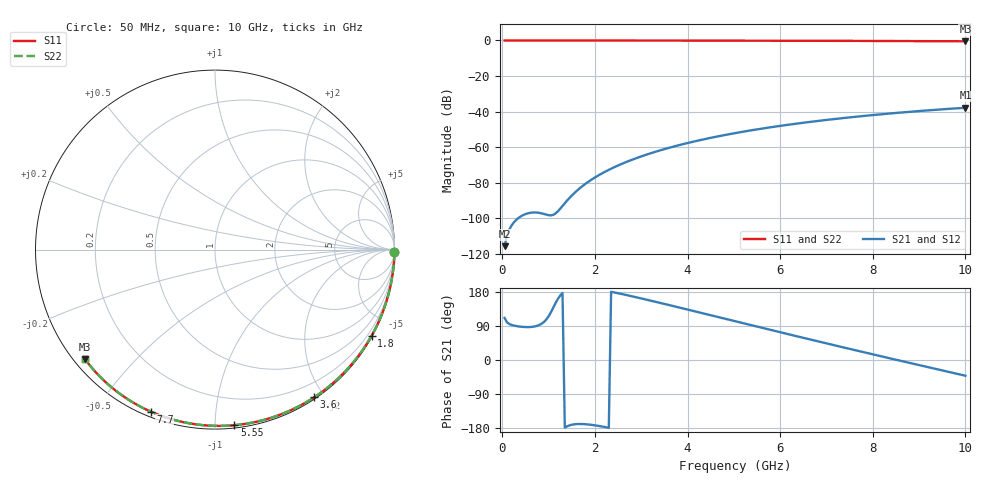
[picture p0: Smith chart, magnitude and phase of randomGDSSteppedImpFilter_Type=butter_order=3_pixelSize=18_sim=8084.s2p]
! freq	dB(S11)	phase(S11)	dB(S12)	phase(S12)
!  dB(S21)	phase(S21)	dB(S22)	phase(S22)
!S-par simulation data
#  GHz  S  DB  R 50
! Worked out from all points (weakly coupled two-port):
!   200 points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, 50 MHz to 10 GHz, reference 50 ohm
!   highest |S21| = -37.84 dB at 10 GHz (marker M1); lowest = -115.7 dB at 50 MHz (marker M2)
!   lowest |S11| = -0.5 dB at 10 GHz (marker M3), VSWR 36.87, Z = 1.54 - j18.2 ohm
!   |S11| at or under -10 dB: nowhere
!   |S22| runs from -0.5 to 0.0 dB; largest |S21 - S12| = 0
!   S11 on the Smith chart (normalised r, x): 50 MHz: open; 1.8 GHz: 0.03, -3.90; 3.6 GHz: 0.02, -1.87; 5.55 GHz: 0.02, -1.12; 7.7 GHz: 0.02, -0.68; 10 GHz: 0.03, -0.36
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0.05  -0.00 -0.8  -115.67 111.0  -115.67 111.0  -0.00 -0.8
0.45  -0.01 -7.3  -98.19 87.2  -98.19 87.2  -0.01 -7.3
0.9  -0.02 -14.5  -97.58 100.4  -97.58 100.4  -0.02 -14.5
1.75  -0.04 -28.0  -81.50 -169.1  -81.50 -169.1  -0.04 -28.0
1.8  -0.04 -28.8  -80.52 -169.5  -80.52 -169.5  -0.04 -28.8
1.85  -0.04 -29.5  -79.60 -170.1  -79.60 -170.1  -0.04 -29.5
2.05  -0.04 -32.7  -76.27 -173.3  -76.27 -173.3  -0.04 -32.7
2.25  -0.05 -35.8  -73.40 -177.6  -73.40 -177.6  -0.05 -35.8
2.55  -0.05 -40.4  -69.72 174.9  -69.72 174.9  -0.05 -40.4
2.95  -0.06 -46.5  -65.65 163.9  -65.65 163.9  -0.06 -46.5
3.4  -0.07 -53.2  -61.85 151.0  -61.85 151.0  -0.07 -53.2
3.6  -0.08 -56.2  -60.36 145.1  -60.36 145.1  -0.08 -56.2
3.9  -0.08 -60.5  -58.31 136.2  -58.31 136.2  -0.08 -60.5
4.3  -0.09 -66.3  -55.87 124.2  -55.87 124.2  -0.09 -66.3
5.05  -0.12 -76.9  -51.99 101.7  -51.99 101.7  -0.12 -76.9
5.55  -0.14 -83.7  -49.79 86.7  -49.79 86.7  -0.14 -83.7
6.1  -0.16 -91.1  -47.66 70.3  -47.66 70.3  -0.16 -91.1
6.7  -0.19 -98.9  -45.61 52.6  -45.61 52.6  -0.19 -98.9
7.7  -0.26 -111.7  -42.72 23.6  -42.72 23.6  -0.26 -111.7
8.35  -0.31 -119.8  -41.11 5.0  -41.11 5.0  -0.31 -119.8
9.2  -0.38 -130.2  -39.29 -19.1  -39.29 -19.1  -0.38 -130.2
10  -0.47 -140.0  -37.84 -41.5  -37.84 -41.5  -0.47 -140.0
